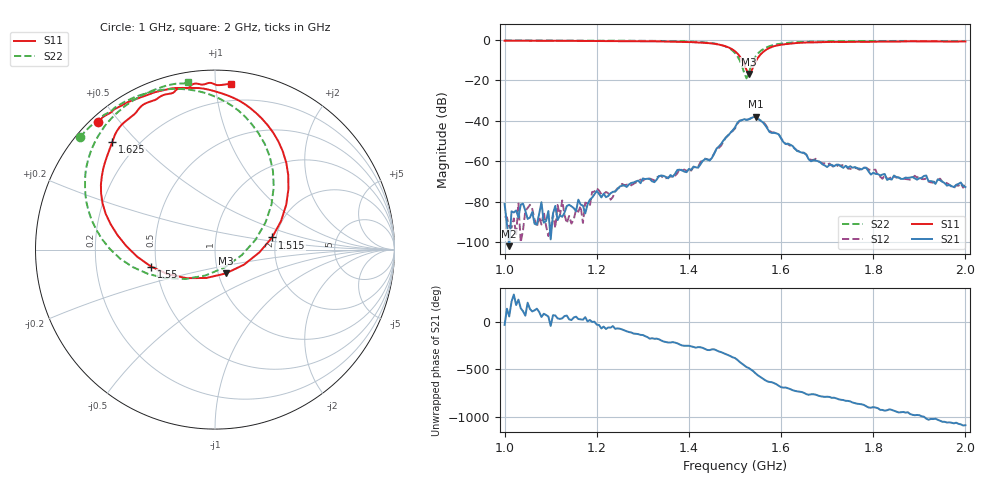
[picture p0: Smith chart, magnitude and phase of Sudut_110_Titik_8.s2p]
# Hz S RI R 50
! CMT, C1220, 16058040, 17.2.0/1
! Date: 14/08/2018 12:05:44
! Data: Format (Calibration Info)
! Freq  S11: Re/Im (F2)  S21: Re/Im (F2)  S12: Re/Im (F2)  S22: Re/Im (F2)
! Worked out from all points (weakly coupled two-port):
!   201 points, 1 GHz to 2 GHz, reference 50 ohm
!   highest |S21| = -37.92 dB at 1.545 GHz (marker M1); lowest = -102.0 dB at 1.01 GHz (marker M2)
!   lowest |S11| = -16.7 dB at 1.53 GHz (marker M3), VSWR 1.34, Z = 54.3 - j14.7 ohm
!   |S11| at or under -10 dB: 1.516 GHz to 1.546 GHz (30.96 MHz wide, 2.02 % of centre)
!   |S22| runs from -18.9 to -0.2 dB; largest |S21 - S12| = 0.00055
!   S11 on the Smith chart (normalised r, x): 1 GHz: 0.02, +0.44; 1.515 GHz: 1.90, +0.29; 1.55 GHz: 0.47, -0.10; 1.625 GHz: 0.11, +0.42; 2 GHz: 0.09, +1.09
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1e9  -0.6542 0.7099  7.2e-05 -5e-05  8.15e-06 4.25e-05  -0.7535 0.6259
1.01e9  -0.6418 0.7186  4.67e-06 6.42e-06  1.92e-05 -1.38e-05  -0.7462 0.6337
1.17e9  -0.4862 0.8215  7.55e-05 2.75e-05  2.87e-05 -7.78e-06  -0.6162 0.7517
1.185e9  -0.4624 0.8306  0.000108 3.2e-05  7.87e-05 5.43e-06  -0.5989 0.761
1.2e9  -0.4447 0.8366  0.000156 -9.91e-05  0.000183 -0.000114  -0.5823 0.765
1.23e9  -0.4074 0.8511  7.13e-05 -0.000145  4.41e-05 -0.000104  -0.5602 0.7888
1.255e9  -0.3621 0.8668  3.11e-05 -0.000247  -2.44e-06 -0.000276  -0.5286 0.8089
1.335e9  -0.2291 0.8994  -0.000427 4.69e-05  -0.000419 7.88e-05  -0.3995 0.8662
1.445e9  0.1468 0.8228  0.000519 0.00091  0.00059 0.000898  -0.00725 0.8558
1.5e9  0.409 0.3365  0.00631 -0.0028  0.00594 -0.00264  0.3274 0.3489
1.515e9  0.3182 0.0676  0.00149 -0.0103  0.00179 -0.0103  0.2255 0.0545
1.525e9  0.1614 -0.084  -0.00503 -0.00928  -0.00498 -0.00942  0.0543 -0.0993
1.53e9  0.0602 -0.1327  -0.00682 -0.00853  -0.00687 -0.00865  -0.0536 -0.1444
1.545e9  -0.2627 -0.137  -0.0126 0.00141  -0.0125 0.00107  -0.3733 -0.1353
1.55e9  -0.3562 -0.0947  -0.0101 0.00497  -0.0103 0.00454  -0.4579 -0.0975
1.58e9  -0.6264 0.2576  0.000666 0.00498  0.000895 0.00517  -0.7048 0.2162
1.625e9  -0.5727 0.5981  0.00239 -4.6e-05  0.00226 8.86e-06  -0.7007 0.5211
1.67e9  -0.4613 0.7442  0.00076 -0.000733  0.000742 -0.000784  -0.6251 0.673
1.835e9  -0.1605 0.8987  -0.000339 0.000142  -0.000312 0.000213  -0.375 0.8748
1.915e9  -0.0478 0.9248  0.000222 0.000386  0.000182 0.00033  -0.2631 0.9154
1.975e9  0.0469 0.9188  0.000226 3.97e-05  0.000213 2.97e-05  -0.1781 0.9246
2e9  0.0864 0.921  0.000227 -3.94e-05  0.000308 -2.45e-05  -0.1505 0.9336
